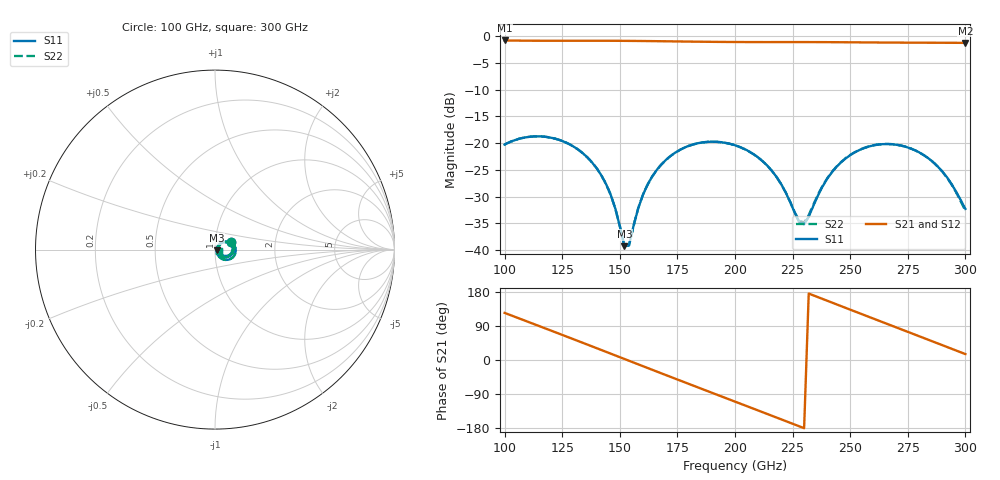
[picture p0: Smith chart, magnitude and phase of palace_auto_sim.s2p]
#  GHZ S DB R 50
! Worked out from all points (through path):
!   101 points, 100 GHz to 300 GHz, reference 50 ohm
!   highest |S21| = -0.80 dB at 100 GHz (marker M1); lowest = -1.3 dB at 300 GHz (marker M2)
!   group delay of S21, straight-line fit = 6.51 ps
!   lowest |S11| = -39.3 dB at 152 GHz (marker M3), VSWR 1.02, Z = 51 - j0.484 ohm
!   |S11| at or under -10 dB: start of sweep to end of sweep
!   |S22| runs from -39.2 to -18.7 dB; largest |S21 - S12| = 1e-13
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100  -20.27 25.4  -0.80 124.4  -0.80 124.4  -20.26 25.1
116  -18.76 -8.0  -0.86 87.2  -0.86 87.2  -18.75 -8.3
124  -19.44 -24.9  -0.86 68.6  -0.86 68.6  -19.43 -25.2
134  -21.91 -45.2  -0.85 45.2  -0.85 45.2  -21.90 -45.5
144  -27.64 -60.7  -0.86 21.6  -0.86 21.6  -27.62 -61.0
148  -32.18 -59.6  -0.86 12.2  -0.86 12.2  -32.14 -60.0
152  -39.27 -25.9  -0.87 2.7  -0.87 2.7  -39.23 -26.6
154  -39.13 18.6  -0.88 -2.0  -0.88 -2.0  -39.15 17.8
160  -29.70 52.1  -0.91 -16.2  -0.91 -16.2  -29.72 51.7
168  -24.01 43.3  -0.95 -35.0  -0.95 -35.0  -24.02 42.9
184  -20.01 13.0  -1.03 -72.5  -1.03 -72.5  -20.02 12.7
200  -20.40 -17.7  -1.09 -109.8  -1.09 -109.8  -20.41 -18.0
216  -25.17 -42.6  -1.11 -147.1  -1.11 -147.1  -25.19 -42.6
228  -34.84 -14.4  -1.10 -175.3  -1.10 -175.3  -34.59 -13.4
230  -35.16 8.3  -1.11 -180.0  -1.11 -180.0  -34.81 8.3
234  -31.74 38.8  -1.11 170.6  -1.11 170.6  -31.51 37.4
240  -26.69 45.5  -1.12 156.4  -1.12 156.4  -26.59 44.2
248  -22.87 36.1  -1.14 137.6  -1.14 137.6  -22.83 34.9
258  -20.65 18.2  -1.17 114.1  -1.17 114.1  -20.62 17.0
268  -20.21 -1.1  -1.20 90.7  -1.20 90.7  -20.19 -2.3
286  -23.56 -32.2  -1.23 48.5  -1.23 48.5  -23.57 -34.0
300  -32.30 -22.3  -1.25 15.6  -1.25 15.6  -32.66 -25.3
